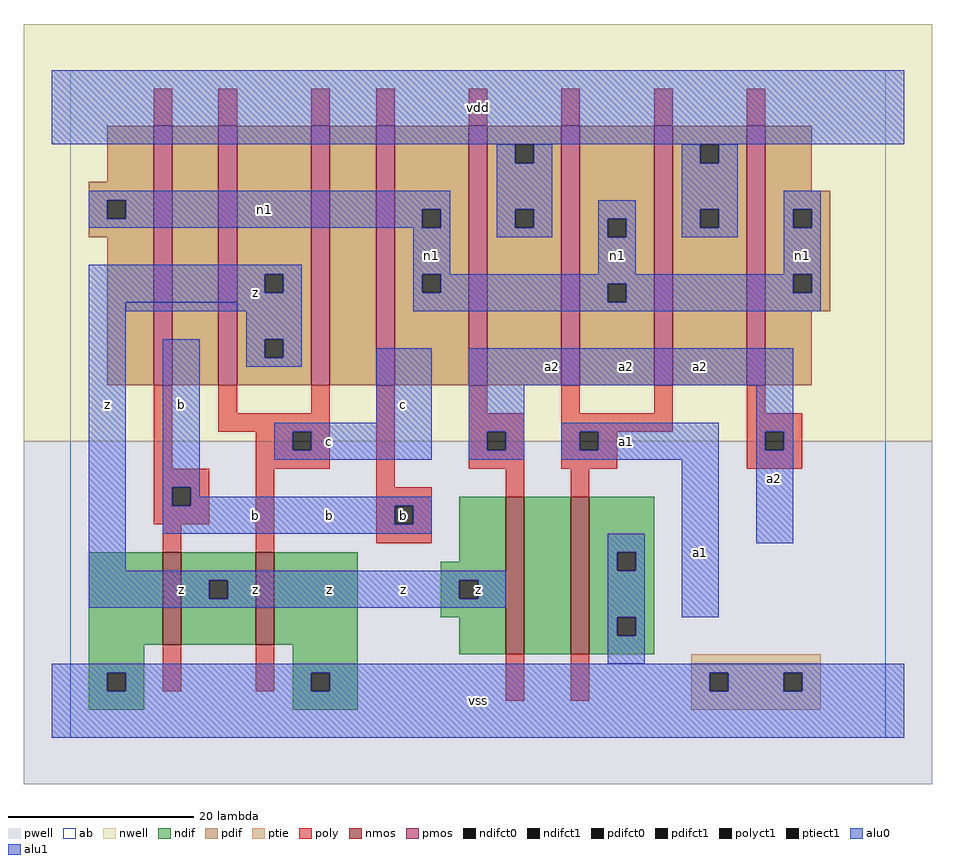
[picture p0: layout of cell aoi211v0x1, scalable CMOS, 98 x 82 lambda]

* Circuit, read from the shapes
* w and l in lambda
.subckt aoi211v0x1 a1 a2 b c n1 vdd vss z
M1 z b vss vss nfet w=10 l=2
M2 vss c z vss nfet w=10 l=2
M3 n2 a2 z vss nfet w=17 l=2
M4 vss a1 n2 vss nfet w=17 l=2
M5 n3 b n1 n4 pfet w=28 l=2
M6 z c n3 n4 pfet w=28 l=2
M7 n5 c z n4 pfet w=28 l=2
M8 n1 b n5 n4 pfet w=28 l=2
M9 vdd a2 n1 n4 pfet w=28 l=2 m=2
M10 n1 a1 vdd n4 pfet w=28 l=2 m=2
.ends

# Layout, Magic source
magic
tech scmos
<< ab >>
rect 0 0 88 72
<< nwell >>
rect -5 32 93 77
<< pwell >>
rect -5 -5 93 32
<< poly >>
rect 9 66 11 70
rect 16 66 18 70
rect 26 66 28 70
rect 33 66 35 70
rect 43 66 45 70
rect 53 66 55 70
rect 63 66 65 70
rect 73 66 75 70
rect 9 29 11 38
rect 16 35 18 38
rect 26 35 28 38
rect 16 33 28 35
rect 20 31 24 33
rect 26 31 28 33
rect 20 29 28 31
rect 9 27 15 29
rect 9 25 11 27
rect 13 25 15 27
rect 9 23 15 25
rect 10 20 12 23
rect 20 20 22 29
rect 33 27 35 38
rect 43 35 45 38
rect 53 35 55 38
rect 63 35 65 38
rect 43 33 49 35
rect 43 31 45 33
rect 47 31 49 33
rect 43 29 49 31
rect 53 33 65 35
rect 73 35 75 38
rect 73 33 79 35
rect 53 31 55 33
rect 57 31 59 33
rect 53 29 59 31
rect 73 31 75 33
rect 77 31 79 33
rect 73 29 79 31
rect 33 25 39 27
rect 47 26 49 29
rect 54 26 56 29
rect 33 23 35 25
rect 37 23 39 25
rect 33 21 39 23
rect 10 5 12 10
rect 20 5 22 10
rect 47 4 49 9
rect 54 4 56 9
<< ndif >>
rect 2 10 10 20
rect 12 17 20 20
rect 12 15 15 17
rect 17 15 20 17
rect 12 10 20 15
rect 22 10 31 20
rect 42 19 47 26
rect 40 17 47 19
rect 40 15 42 17
rect 44 15 47 17
rect 40 13 47 15
rect 2 7 8 10
rect 2 5 4 7
rect 6 5 8 7
rect 24 7 31 10
rect 42 9 47 13
rect 49 9 54 26
rect 56 20 63 26
rect 56 18 59 20
rect 61 18 63 20
rect 56 13 63 18
rect 56 11 59 13
rect 61 11 63 13
rect 56 9 63 11
rect 24 5 26 7
rect 28 5 31 7
rect 2 3 8 5
rect 24 3 31 5
<< pdif >>
rect 4 60 9 66
rect 2 58 9 60
rect 2 56 4 58
rect 6 56 9 58
rect 2 54 9 56
rect 4 38 9 54
rect 11 38 16 66
rect 18 50 26 66
rect 18 48 21 50
rect 23 48 26 50
rect 18 43 26 48
rect 18 41 21 43
rect 23 41 26 43
rect 18 38 26 41
rect 28 38 33 66
rect 35 57 43 66
rect 35 55 38 57
rect 40 55 43 57
rect 35 50 43 55
rect 35 48 38 50
rect 40 48 43 50
rect 35 38 43 48
rect 45 64 53 66
rect 45 62 48 64
rect 50 62 53 64
rect 45 57 53 62
rect 45 55 48 57
rect 50 55 53 57
rect 45 38 53 55
rect 55 56 63 66
rect 55 54 58 56
rect 60 54 63 56
rect 55 49 63 54
rect 55 47 58 49
rect 60 47 63 49
rect 55 38 63 47
rect 65 64 73 66
rect 65 62 68 64
rect 70 62 73 64
rect 65 57 73 62
rect 65 55 68 57
rect 70 55 73 57
rect 65 38 73 55
rect 75 59 80 66
rect 75 57 82 59
rect 75 55 78 57
rect 80 55 82 57
rect 75 50 82 55
rect 75 48 78 50
rect 80 48 82 50
rect 75 46 82 48
rect 75 38 80 46
<< alu1 >>
rect -2 64 90 72
rect 2 50 25 51
rect 2 48 21 50
rect 23 48 25 50
rect 2 47 25 48
rect 2 18 6 47
rect 18 46 25 47
rect 19 43 25 46
rect 10 27 14 43
rect 19 41 21 43
rect 23 41 25 43
rect 19 40 25 41
rect 33 34 39 42
rect 22 33 39 34
rect 22 31 24 33
rect 26 31 39 33
rect 22 30 39 31
rect 43 38 78 42
rect 43 33 49 38
rect 43 31 45 33
rect 47 31 49 33
rect 43 30 49 31
rect 53 33 70 34
rect 53 31 55 33
rect 57 31 70 33
rect 53 30 70 31
rect 10 25 11 27
rect 13 26 14 27
rect 13 25 39 26
rect 10 23 35 25
rect 37 23 39 25
rect 10 22 39 23
rect 2 17 47 18
rect 2 15 15 17
rect 17 15 42 17
rect 44 15 47 17
rect 2 14 47 15
rect 66 13 70 30
rect 74 33 78 38
rect 74 31 75 33
rect 77 31 78 33
rect 74 21 78 31
rect -2 7 90 8
rect -2 5 4 7
rect 6 5 26 7
rect 28 5 69 7
rect 71 5 77 7
rect 79 5 90 7
rect -2 0 90 5
<< ptie >>
rect 67 7 81 9
rect 67 5 69 7
rect 71 5 77 7
rect 79 5 81 7
rect 67 3 81 5
<< nmos >>
rect 10 10 12 20
rect 20 10 22 20
rect 47 9 49 26
rect 54 9 56 26
<< pmos >>
rect 9 38 11 66
rect 16 38 18 66
rect 26 38 28 66
rect 33 38 35 66
rect 43 38 45 66
rect 53 38 55 66
rect 63 38 65 66
rect 73 38 75 66
<< polyct1 >>
rect 24 31 26 33
rect 11 25 13 27
rect 45 31 47 33
rect 55 31 57 33
rect 75 31 77 33
rect 35 23 37 25
<< ndifct0 >>
rect 59 18 61 20
rect 59 11 61 13
<< ndifct1 >>
rect 15 15 17 17
rect 42 15 44 17
rect 4 5 6 7
rect 26 5 28 7
<< ptiect1 >>
rect 69 5 71 7
rect 77 5 79 7
<< pdifct0 >>
rect 4 56 6 58
rect 38 55 40 57
rect 38 48 40 50
rect 48 62 50 64
rect 48 55 50 57
rect 58 54 60 56
rect 58 47 60 49
rect 68 62 70 64
rect 68 55 70 57
rect 78 55 80 57
rect 78 48 80 50
<< pdifct1 >>
rect 21 48 23 50
rect 21 41 23 43
<< alu0 >>
rect 46 62 48 64
rect 50 62 52 64
rect 2 58 41 59
rect 2 56 4 58
rect 6 57 41 58
rect 6 56 38 57
rect 2 55 38 56
rect 40 55 41 57
rect 6 46 18 47
rect 37 50 41 55
rect 46 57 52 62
rect 66 62 68 64
rect 70 62 72 64
rect 46 55 48 57
rect 50 55 52 57
rect 46 54 52 55
rect 57 56 61 58
rect 57 54 58 56
rect 60 54 61 56
rect 66 57 72 62
rect 66 55 68 57
rect 70 55 72 57
rect 66 54 72 55
rect 77 57 81 59
rect 77 55 78 57
rect 80 55 81 57
rect 57 50 61 54
rect 77 50 81 55
rect 37 48 38 50
rect 40 49 78 50
rect 40 48 58 49
rect 37 47 58 48
rect 60 48 78 49
rect 80 48 81 50
rect 60 47 81 48
rect 37 46 81 47
rect 58 20 62 22
rect 58 18 59 20
rect 61 18 62 20
rect 58 13 62 18
rect 58 11 59 13
rect 61 11 62 13
rect 58 8 62 11
<< labels >>
rlabel alu0 39 52 39 52 6 n1
rlabel alu0 21 57 21 57 6 n1
rlabel alu0 79 52 79 52 6 n1
rlabel alu0 59 52 59 52 6 n1
rlabel alu1 12 16 12 16 6 z
rlabel alu1 12 36 12 36 6 b
rlabel alu1 4 36 4 36 6 z
rlabel alu1 28 16 28 16 6 z
rlabel alu1 36 16 36 16 6 z
rlabel alu1 20 16 20 16 6 z
rlabel alu1 20 24 20 24 6 b
rlabel polyct1 36 24 36 24 6 b
rlabel alu1 28 32 28 32 6 c
rlabel alu1 28 24 28 24 6 b
rlabel alu1 36 36 36 36 6 c
rlabel alu1 20 48 20 48 6 z
rlabel alu1 44 4 44 4 6 vss
rlabel alu1 44 16 44 16 6 z
rlabel alu1 60 32 60 32 6 a1
rlabel alu1 52 40 52 40 6 a2
rlabel alu1 60 40 60 40 6 a2
rlabel alu1 44 68 44 68 6 vdd
rlabel alu1 68 20 68 20 6 a1
rlabel alu1 76 28 76 28 6 a2
rlabel alu1 68 40 68 40 6 a2
<< end >>
